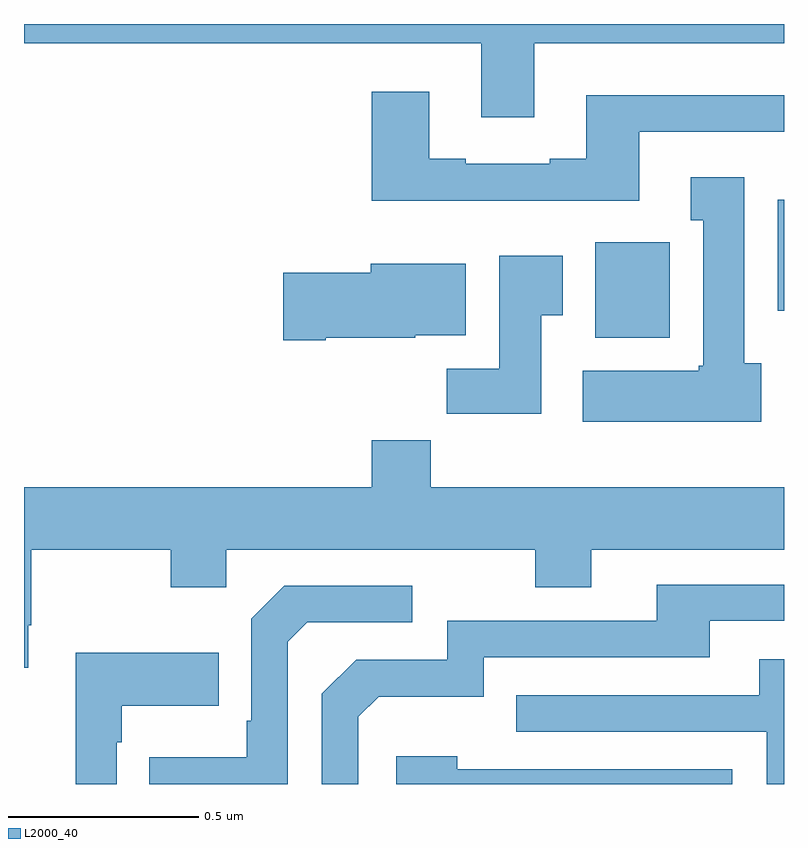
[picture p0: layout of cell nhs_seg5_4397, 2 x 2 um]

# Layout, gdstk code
import gdstk
lib = gdstk.Library(unit=1e-6, precision=1e-09)
def R(c, l, rs):  # rectangles x0, y0, x1, y1
    for r in rs: c.add(gdstk.rectangle(r[:2], r[2:], *l))
def P(c, l, *ps):  # polygons
    for p in ps: c.add(gdstk.Polygon(p, *l))
L2000_40 = (2000, 40)

nhs_seg5_4397 = lib.new_cell('nhs_seg5_4397')
R(nhs_seg5_4397, L2000_40, [(171.503,867.974,171.699,868.225), (171.983,868.044,172,868.336)])
P(nhs_seg5_4397, L2000_40, [(171.343,868.748),(172,868.748),(172,868.799),(170,868.799),(170,868.748),(171.203,868.748),(171.203,868.554),(171.343,868.554)],
  [(171.619,868.515),(172,868.515),(172,868.612),(171.479,868.612),(171.479,868.444),(171.383,868.444),(171.383,868.431),(171.163,868.431),(171.163,868.444),(171.067,868.444),(171.067,868.621),(170.915,868.621),(170.915,868.334),(171.619,868.334)],
  [(171.94,867.906),(171.895,867.906),(171.895,868.396),(171.755,868.396),(171.755,868.283),(171.788,868.283),(171.788,867.9),(171.775,867.9),(171.775,867.886),(171.471,867.886),(171.471,867.752),(171.94,867.752)],
  [(171.361,868.033),(171.418,868.033),(171.418,868.189),(171.251,868.189),(171.251,867.892),(171.112,867.892),(171.112,867.774),(171.361,867.774)],
  [(170.794,867.974),(171.03,867.974),(171.03,867.98),(171.163,867.98),(171.163,868.168),(170.912,868.168),(170.912,868.145),(170.682,868.145),(170.682,867.967),(170.794,867.967)],
  [(170.011,867.217),(170.019,867.217),(170.019,867.416),(170.386,867.416),(170.386,867.317),(170.532,867.317),(170.532,867.416),(171.346,867.416),(171.346,867.317),(171.493,867.317),(171.493,867.416),(172,867.416),(172,867.58),(171.071,867.58),(171.071,867.704),(170.915,867.704),(170.915,867.58),(170,867.58),(170,867.105),(170.011,867.105)],
  [(170.88,866.976),(170.933,867.029),(171.21,867.029),(171.21,867.132),(171.805,867.132),(171.805,867.228),(172,867.228),(172,867.324),(171.665,867.324),(171.665,867.228),(171.114,867.228),(171.114,867.126),(170.874,867.126),(170.784,867.036),(170.784,866.799),(170.88,866.799)],
  [(170.694,867.174),(170.745,867.225),(171.022,867.225),(171.022,867.321),(170.685,867.321),(170.598,867.234),(170.598,866.965),(170.586,866.965),(170.586,866.869),(170.329,866.869),(170.329,866.799),(170.694,866.799)],
  [(170.244,866.909),(170.257,866.909),(170.257,867.005),(170.513,867.005),(170.513,867.145),(170.136,867.145),(170.136,866.799),(170.244,866.799)],
  [(172,867.127),(171.935,867.127),(171.935,867.033),(171.295,867.033),(171.295,866.937),(171.954,866.937),(171.954,866.799),(172,866.799)],
  [(171.864,866.838),(171.14,866.838),(171.14,866.872),(170.979,866.872),(170.979,866.799),(171.864,866.799)])

lib.write_gds('nhs_seg5_4397.gds')
